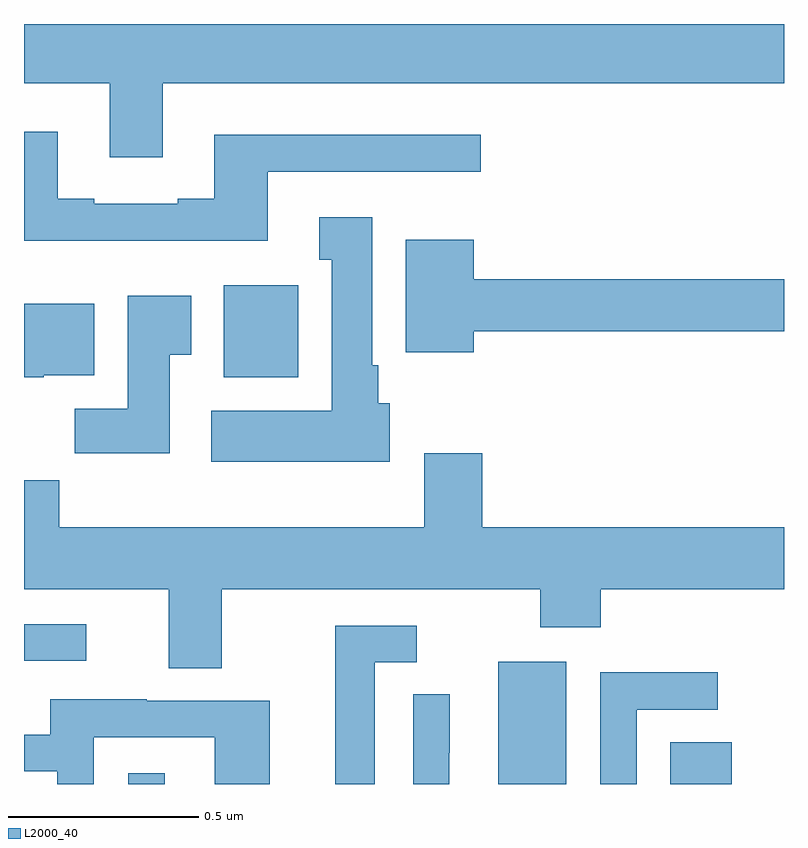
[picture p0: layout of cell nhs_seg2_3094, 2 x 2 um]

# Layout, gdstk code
import gdstk
lib = gdstk.Library(unit=1e-6, precision=1e-09)
def R(c, l, rs):  # rectangles x0, y0, x1, y1
    for r in rs: c.add(gdstk.rectangle(r[:2], r[2:], *l))
def P(c, l, *ps):  # polygons
    for p in ps: c.add(gdstk.Polygon(p, *l))
L2000_40 = (2000, 40)

nhs_seg2_3094 = lib.new_cell('nhs_seg2_3094')
R(nhs_seg2_3094, L2000_40, [(149.274,637.8,149.371,637.828), (150.248,637.8,150.427,638.122), (150.701,637.8,150.862,637.91), (149,638.124,149.164,638.22), (149.525,638.87,149.722,639.112)])
P(nhs_seg2_3094, L2000_40, [(149.365,639.644),(151,639.644),(151,639.8),(149,639.8),(149,639.644),(149.225,639.644),(149.225,639.45),(149.365,639.45)],
  [(149.641,639.411),(150.202,639.411),(150.202,639.508),(149.501,639.508),(149.501,639.34),(149.405,639.34),(149.405,639.327),(149.185,639.327),(149.185,639.34),(149.089,639.34),(149.089,639.517),(149,639.517),(149,639.23),(149.641,639.23)],
  [(149.962,638.802),(149.932,638.802),(149.932,638.902),(149.917,638.902),(149.917,639.292),(149.777,639.292),(149.777,639.179),(149.81,639.179),(149.81,638.782),(149.493,638.782),(149.493,638.648),(149.962,638.648)],
  [(150.184,638.992),(151,638.992),(151,639.128),(150.184,639.128),(150.184,639.232),(150.005,639.232),(150.005,638.936),(150.184,638.936)],
  [(149.383,638.929),(149.44,638.929),(149.44,639.085),(149.273,639.085),(149.273,638.788),(149.134,638.788),(149.134,638.67),(149.383,638.67)],
  [(149.052,638.876),(149.185,638.876),(149.185,639.064),(149,639.064),(149,638.87),(149.052,638.87)],
  [(149.521,638.312),(150.358,638.312),(150.358,638.213),(150.518,638.213),(150.518,638.312),(151,638.312),(151,638.476),(150.206,638.476),(150.206,638.671),(150.053,638.671),(150.053,638.476),(149.093,638.476),(149.093,638.6),(149,638.6),(149,638.312),(149.381,638.312),(149.381,638.104),(149.521,638.104)],
  [(149.923,638.121),(150.034,638.121),(150.034,638.217),(149.819,638.217),(149.819,637.8),(149.923,637.8)],
  [(150.612,637.995),(150.826,637.995),(150.826,638.094),(150.516,638.094),(150.516,637.8),(150.612,637.8)],
  [(150.119,637.882),(150.12,637.882),(150.12,638.036),(150.024,638.036),(150.024,637.8),(150.119,637.8)],
  [(149.184,637.923),(149.502,637.923),(149.502,637.8),(149.647,637.8),(149.647,638.019),(149.323,638.019),(149.323,638.023),(149.069,638.023),(149.069,637.929),(149,637.929),(149,637.833),(149.088,637.833),(149.088,637.8),(149.184,637.8)])

lib.write_gds('nhs_seg2_3094.gds')
